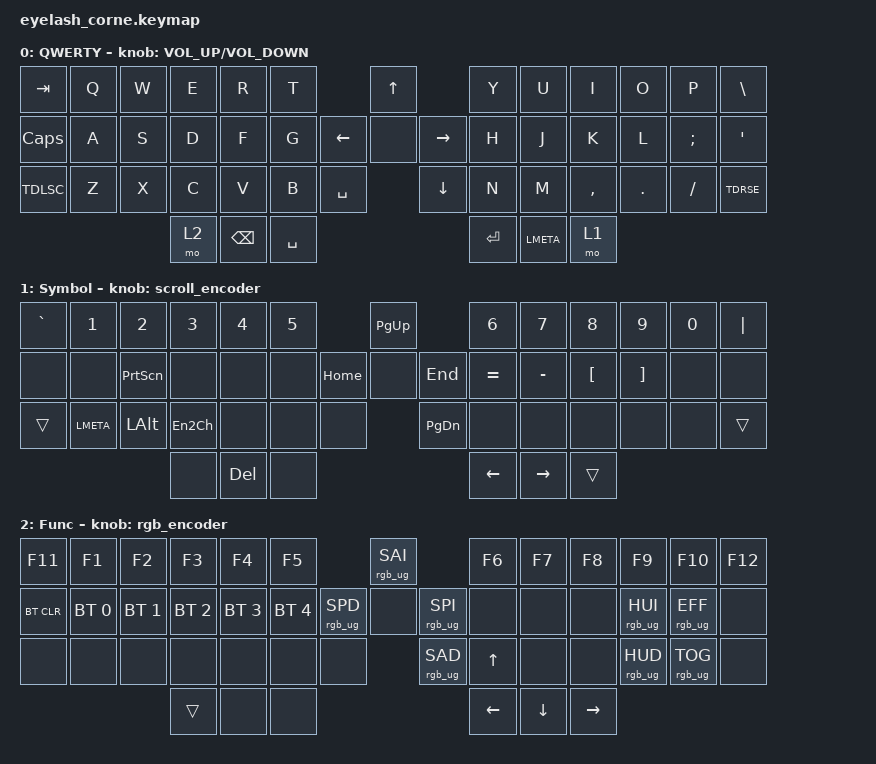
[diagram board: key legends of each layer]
#define ZMK_POINTING_DEFAULT_MOVE_VAL 1200  // 600
#define ZMK_POINTING_DEFAULT_SCRL_VAL 25   // 10

#include <input/processors.dtsi>
#include <zephyr/dt-bindings/input/input-event-codes.h>
#include <behaviors.dtsi>
#include <dt-bindings/zmk/bt.h>
#include <dt-bindings/zmk/keys.h>
#include <dt-bindings/zmk/outputs.h>
#include <dt-bindings/zmk/pointing.h>
#include <dt-bindings/zmk/rgb.h>

&mmv_input_listener { input-processors = <&zip_xy_scaler 2 1>; };

&msc_input_listener { input-processors = <&zip_scroll_scaler 2 1>; };

&msc {
    acceleration-exponent = <1>;      // 0
    time-to-max-speed-ms = <100>;       // 300
    delay-ms = <0>;                   // 0
};

&mmv {
    time-to-max-speed-ms = <500>;
    acceleration-exponent = <1>;
    trigger-period-ms = <16>;
};

/ {
    behaviors {
        TDLSC: TDLSC {
            compatible = "zmk,behavior-tap-dance";
            display-name = "SHIFT/CTRL Lock Tap Dance";
            #binding-cells = <0>;
            bindings = <&kp LSHIFT>, <&kp LCTRL>;
        };
        TDRSE: TDRSE {
            compatible = "zmk,behavior-tap-dance";
            display-name = "SHIFT/ESC Lock Tap Dance";
            #binding-cells = <0>;
            bindings = <&kp LSHIFT>, <&kp ESC>;
        };
    };

    macros {
        PrtScn: PrtScn {
            compatible = "zmk,behavior-macro";
            label = "PrtScn";
            #binding-cells = <0>;
            bindings = <&macro_press &kp LMETA>,
                       <&macro_press &kp LSHIFT>,
                       <&macro_tap &kp S>,
                       <&macro_release &kp LSHIFT>,
                       <&macro_release &kp LMETA>;
        };

        En2Ch: En2Ch {
            compatible = "zmk,behavior-macro";
            label = "EN2TC";
            #binding-cells = <0>;
            bindings = <&macro_press &kp LALT>,
                       <&macro_press &kp LSHIFT>,
                       <&macro_release &kp LSHIFT>,
                       <&macro_release &kp LALT>;
        };
    };

    rgb_encoder: rgb_encoder {
        compatible = "zmk,behavior-sensor-rotate";
        #sensor-binding-cells = <0>;
        bindings = <&rgb_ug RGB_BRI>, <&rgb_ug RGB_BRD>;
    };

    scroll_encoder: scroll_encoder {
        compatible = "zmk,behavior-sensor-rotate";
        #sensor-binding-cells = <0>;
        bindings = <&msc SCRL_DOWN>, <&msc SCRL_UP>;

        tap-ms = <100>;
    };

    keymap {
        compatible = "zmk,keymap";

        default_layer {
            display-name = "QWERTY";
            bindings = <
&kp TAB       &kp Q         &kp W         &kp E         &kp R         &kp T                      &kp UP                  &kp Y        &kp U         &kp I         &kp O         &kp P         &kp BSLH
&kp CAPS      &kp A         &kp S         &kp D         &kp F         &kp G            &kp LEFT  &none     &kp RIGHT     &kp H        &kp J         &kp K         &kp L         &kp SEMI      &kp SQT
&TDLSC        &kp Z         &kp X         &kp C         &kp V         &kp B        &kp SPACE     &kp DOWN                &kp N        &kp M         &kp COMMA     &kp DOT       &kp FSLH      &TDRSE
                                          &mo 2         &kp BSPC      &kp SPACE                                          &kp ENTER    &kp LMETA     &mo 1
            >;
            sensor-bindings = <&inc_dec_kp C_VOLUME_UP C_VOLUME_DOWN>;
        };

        lower_layer {
            display-name = "Symbol";
            bindings = <
&kp GRAVE     &kp N1        &kp N2        &kp N3        &kp N4        &kp N5                     &kp PG_UP               &kp N6       &kp N7        &kp N8        &kp N9        &kp N0        &kp PIPE
&none         &none         &PrtScn       &none         &none         &none            &kp HOME  &none     &kp END       &kp EQUAL    &kp MINUS     &kp LBKT      &kp RBKT      &none         &none
&trans        &kp LMETA     &kp LALT      &En2Ch        &none         &none        &none         &kp PG_DN               &none        &none         &none         &none         &none         &trans
                                          &none         &kp DEL       &none                                              &kp LEFT     &kp RIGHT     &trans
            >;
            sensor-bindings = <&scroll_encoder>;
        };

        raise_layer {
            display-name = "Func";
            bindings = <
&kp F11       &kp F1        &kp F2        &kp F3        &kp F4        &kp F5                     &rgb_ug RGB_SAI         &kp F6        &kp F7        &kp F8        &kp F9        &kp F10       &kp F12
&bt BT_CLR    &bt BT_SEL 0  &bt BT_SEL 1  &bt BT_SEL 2  &bt BT_SEL 3  &bt BT_SEL 4 &rgb_ug RGB_SPD &none &rgb_ug RGB_SPI &none         &none         &none     &rgb_ug RGB_HUI &rgb_ug RGB_EFF &none
&none         &none         &none         &none         &none         &none        &none         &rgb_ug RGB_SAD         &kp UP        &none         &none     &rgb_ug RGB_HUD &rgb_ug RGB_TOG &none
                                          &trans        &none         &none                                              &kp LEFT      &kp DOWN      &kp RIGHT
            >;
            sensor-bindings = <&rgb_encoder>;
        };
    };
};
